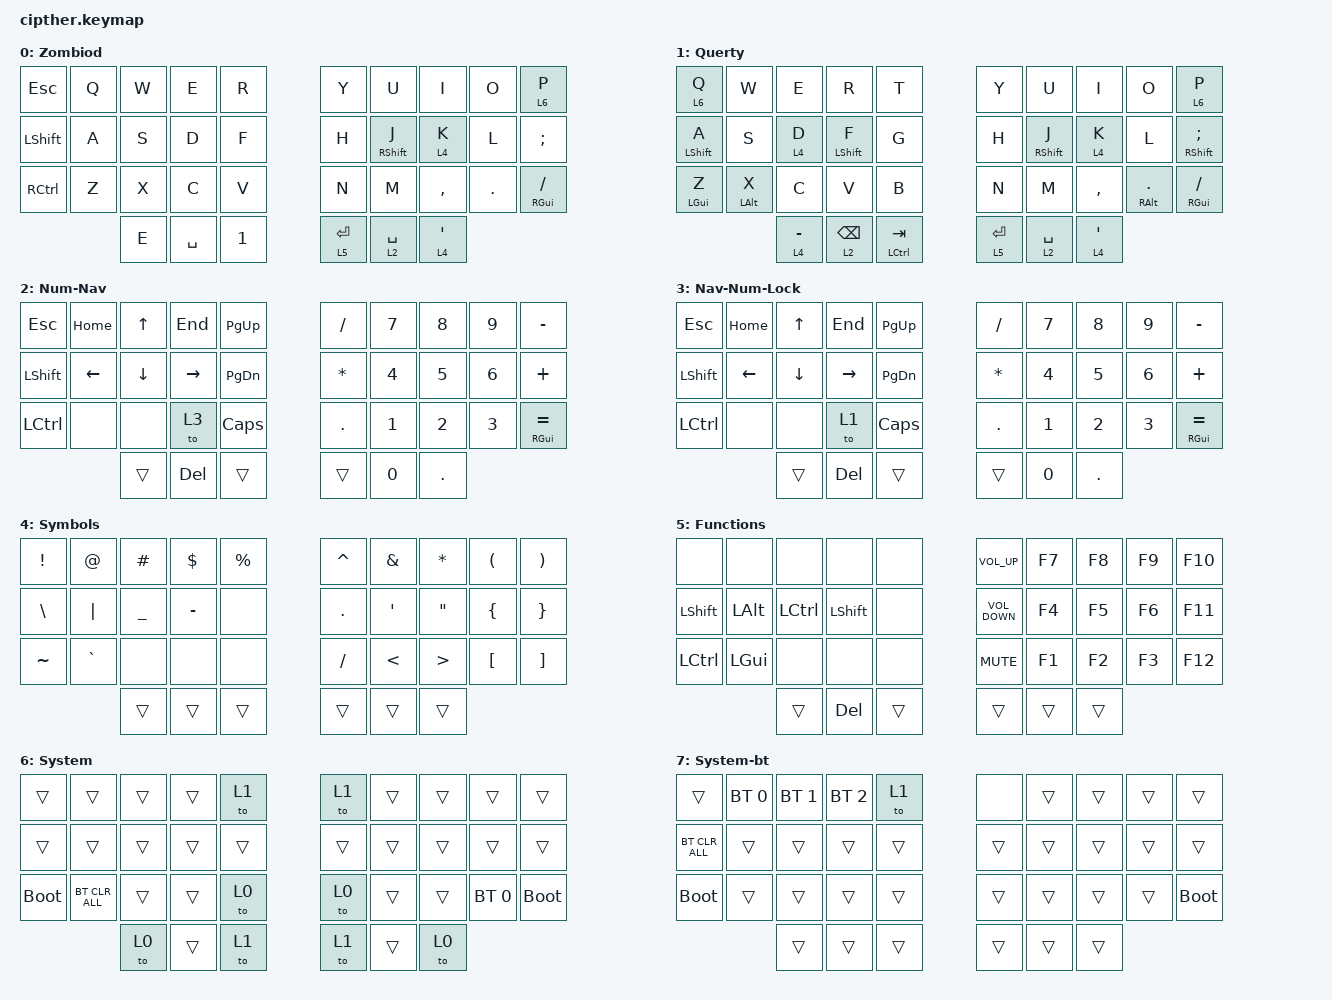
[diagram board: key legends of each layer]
/*
 * Copyright (c) 2020 The ZMK Contributors
 *
 * SPDX-License-Identifier: MIT
 */

#include <behaviors.dtsi>
#include <dt-bindings/zmk/bt.h>
#include <dt-bindings/zmk/keys.h>

/ {
    behaviors {
        hml: hml {
            compatible = "zmk,behavior-hold-tap";
            label = "HOME_ROW_LEFT";
            bindings = <&kp>, <&kp>;

            #binding-cells = <2>;
            hold-trigger-key-positions = <0 1 3 2 4 5 6 14 15 16 17 18 19 20 28 29 42 43 44 45 46 47 56 57 58 48 21 22 23 24 25 26 27 7 8 9 10 11 12 13 33 34 35>;
            tapping-term-ms = <180>;
            quick-tap-ms = <175>;
            require-prior-idle-ms = <150>;
            flavor = "balanced";
            hold-trigger-on-release;
        };

        hmr: hmr {
            compatible = "zmk,behavior-hold-tap";
            label = "HOME_ROW_RIGHT";
            bindings = <&kp>, <&kp>;

            #binding-cells = <2>;
            tapping-term-ms = <180>;
            quick-tap-ms = <175>;
            require-prior-idle-ms = <150>;
            flavor = "balanced";
            hold-trigger-key-positions = <37 7 8 9 10 11 12 13 21 22 23 24 25 26 27 35 36 38 39 40 41 55 54 53 52 51 50 69 68 67 49 0 1 2 3 4 14 20 15 5 6 28 29 34 33 16 17 18 19>;
            hold-trigger-on-release;
        };
    };

    combos {
        compatible = "zmk,combos";

        tab {
            bindings = <&mt LEFT_ALT TAB>;
            key-positions = <12 13>;
            layers = <1>;
        };

        enter_1 {
            bindings = <&kp ENTER>;
            key-positions = <16 17 18>;
            layers = <1>;
        };

        quote {
            bindings = <&mt RIGHT_ALT SINGLE_QUOTE>;
            key-positions = <16 17>;
            layers = <1>;
        };

        double-quote {
            bindings = <&mt RIGHT_GUI DOUBLE_QUOTES>;
            key-positions = <17 18>;
            layers = <1>;
        };

        enter_2 {
            bindings = <&kp ENTER>;
            key-positions = <11 12 13>;
            layers = <1>;
        };

        brace_1 {
            bindings = <&kp LEFT_BRACE>;
            key-positions = <3 2>;
            layers = <1>;
        };

        brace_2 {
            bindings = <&kp RIGHT_BRACE>;
            key-positions = <1 2 3>;
            layers = <1>;
        };

        bracket-1 {
            bindings = <&kp LEFT_BRACKET>;
            key-positions = <22 23>;
            layers = <1>;
        };

        bracket-2 {
            bindings = <&kp RIGHT_BRACKET>;
            key-positions = <21 22 23>;
            layers = <1>;
        };

        paren_1 {
            bindings = <&kp LEFT_PARENTHESIS>;
            key-positions = <6 7>;
            layers = <1>;
        };

        paren_2 {
            bindings = <&kp RIGHT_PARENTHESIS>;
            key-positions = <7 8 6>;
            layers = <1>;
        };

        compare_1 {
            bindings = <&kp LESS_THAN>;
            key-positions = <26 27>;
            layers = <1>;
        };

        compare_2 {
            bindings = <&kp GREATER_THAN>;
            key-positions = <27 28 26>;
            layers = <1>;
        };

        underscore {
            bindings = <&mt LEFT_GUI UNDERSCORE>;
            key-positions = <11 12>;
            layers = <1>;
        };
    };

    macros {
        backdots: backdots {
            compatible = "zmk,behavior-macro";
            #binding-cells = <0>;
            bindings = <&kp DOT &kp DOT &kp FSLH>;
            label = "BACKDOTS";
        };
    };

    keymap {
        compatible = "zmk,keymap";

        Zombiod {
            bindings = <
&kp ESC         &kp Q  &kp W  &kp E      &kp R         &kp Y        &kp U               &kp I               &kp O    &lt 6 P
&kp LEFT_SHIFT  &kp A  &kp S  &kp D      &kp F         &kp H        &hmr RIGHT_SHIFT J  &lt 4 K             &kp L    &kp SEMICOLON
&kp RCTRL       &kp Z  &kp X  &kp C      &kp V         &kp N        &kp M               &kp COMMA           &kp DOT  &hml RIGHT_GUI SLASH
                       &kp E  &kp SPACE  &kp NUMBER_1  &lt 5 ENTER  &lt 2 SPACE         &lt 4 SINGLE_QUOTE
            >;
        };

        Querty {
            // -----------------------------------------------------------------------------------------
            // |  Q  |  W  |  E  |  R  |  T  |   |  Y  |  U   |  I  |  O  |  P  |
            // |  A  |  S  |  D  |  F  |  G  |   |  H  |  J   |  K  |  L  |  ;  |
            // |  Z  |  X  |  C  |  V  |  B  |   |  N  |  M   |  ,  |  .  |  /  |
            //                  | GUI | LWR | SPC |   | ENT | RSE  | ALT |

            bindings = <
&lt 6 Q            &kp W            &kp E        &kp R              &kp T           &kp Y        &kp U               &kp I               &kp O               &lt 6 P
&hml LEFT_SHIFT A  &kp S            &lt 4 D      &hml LEFT_SHIFT F  &kp G           &kp H        &hmr RIGHT_SHIFT J  &lt 4 K             &kp L               &hmr RIGHT_SHIFT SEMICOLON
&hml LEFT_GUI Z    &hml LEFT_ALT X  &kp C        &kp V              &kp B           &kp N        &kp M               &kp COMMA           &hmr RIGHT_ALT DOT  &hmr RIGHT_GUI SLASH
                                    &lt 4 MINUS  &lt 2 BACKSPACE    &hml LCTRL TAB  &lt 5 ENTER  &lt 2 SPACE         &lt 4 SINGLE_QUOTE
            >;
        };

        Num-Nav {
            // -----------------------------------------------------------------------------------------
            // |  1  |  2  |  3  |  4  |  5  |   |  6  |  7  |  8  |  9  |  0  |
            // | BT1 | BT2 | BT3 | BT4 | BT5 |   | LFT | DWN |  UP | RGT |     |
            // |     |     |     |     |     |   |     |     |     |     |     |
            //                  | GUI |     | SPC |   | ENT |     | ALT |

            bindings = <
&kp ESCAPE      &kp HOME        &kp UP_ARROW  &kp END          &kp PAGE_UP    &kp SLASH     &kp N7        &kp N8        &kp N9        &kp MINUS
&kp LEFT_SHIFT  &kp LEFT_ARROW  &kp DOWN      &kp RIGHT_ARROW  &kp PAGE_DOWN  &kp ASTERISK  &kp NUMBER_4  &kp NUMBER_5  &kp NUMBER_6  &kp PLUS
&kp LCTRL       &none           &none         &to 3            &kp CAPS       &kp DOT       &kp NUMBER_1  &kp NUMBER_2  &kp NUMBER_3  &hmr RGUI EQUAL
                                &trans        &kp DELETE       &trans         &trans        &kp NUMBER_0  &kp DOT
            >;
        };

        Nav-Num-Lock {
            bindings = <
&kp ESCAPE      &kp HOME        &kp UP_ARROW  &kp END          &kp PAGE_UP    &kp SLASH     &kp N7        &kp N8        &kp N9        &kp MINUS
&kp LEFT_SHIFT  &kp LEFT_ARROW  &kp DOWN      &kp RIGHT_ARROW  &kp PAGE_DOWN  &kp ASTERISK  &kp NUMBER_4  &kp NUMBER_5  &kp NUMBER_6  &kp PLUS
&kp LCTRL       &none           &none         &to 1            &kp CAPS       &kp DOT       &kp NUMBER_1  &kp NUMBER_2  &kp NUMBER_3  &hmr RIGHT_GUI EQUAL
                                &trans        &kp DELETE       &trans         &trans        &kp NUMBER_0  &kp DOT
            >;
        };

        Symbols {
            bindings = <
&kp EXCLAMATION  &kp AT_SIGN  &kp HASH        &kp DOLLAR  &kp PERCENT  &kp CARET  &kp AMPERSAND     &kp ASTERISK       &kp LEFT_PARENTHESIS  &kp RIGHT_PARENTHESIS
&kp BACKSLASH    &kp PIPE     &kp UNDERSCORE  &kp MINUS   &none        &kp DOT    &kp SINGLE_QUOTE  &kp DOUBLE_QUOTES  &kp LBRC              &kp RIGHT_BRACE
&kp TILDE        &kp GRAVE    &none           &none       &none        &kp SLASH  &kp LESS_THAN     &kp GREATER_THAN   &kp LEFT_BRACKET      &kp RIGHT_BRACKET
                              &trans          &trans      &trans       &trans     &trans            &trans
            >;
        };

        Functions {
            // -----------------------------------------------------------------------------------------
            // |  !  |  @  |  #  |  $  |  %  |   |  ^  |  &  |  *  |  (  |  )  |
            // |     |     |     |     |     |   |  -  |  =  |  [  |  ]  |  \  |
            // |     |     |     |     |     |   |  _  |  +  |  {  |  }  | "|" |
            //                  | GUI |     | SPC |   | ENT |     | ALT |

            bindings = <
&none           &none         &none      &none           &none   &kp K_VOL_UP       &kp F7  &kp F8  &kp F9  &kp F10
&kp LEFT_SHIFT  &kp LEFT_ALT  &kp LCTRL  &kp LEFT_SHIFT  &none   &kp K_VOLUME_DOWN  &kp F4  &kp F5  &kp F6  &kp F11
&kp LCTRL       &kp LEFT_GUI  &none      &none           &none   &kp C_MUTE         &kp F1  &kp F2  &kp F3  &kp F12
                              &trans     &kp DELETE      &trans  &trans             &trans  &trans
            >;
        };

        System {
            bindings = <
&trans       &trans          &trans  &trans  &to 1   &to 1   &trans  &trans  &trans        &trans
&trans       &trans          &trans  &trans  &trans  &trans  &trans  &trans  &trans        &trans
&bootloader  &bt BT_CLR_ALL  &trans  &trans  &to 0   &to 0   &trans  &trans  &bt BT_SEL 0  &bootloader
                             &to 0   &trans  &to 1   &to 1   &trans  &to 0
            >;
        };

        System-bt {
            bindings = <
&trans          &bt BT_SEL 0  &bt BT_SEL 1  &bt BT_SEL 2  &to 1   &none   &trans  &trans  &trans  &trans
&bt BT_CLR_ALL  &trans        &trans        &trans        &trans  &trans  &trans  &trans  &trans  &trans
&bootloader     &trans        &trans        &trans        &trans  &trans  &trans  &trans  &trans  &bootloader
                              &trans        &trans        &trans  &trans  &trans  &trans
            >;
        };
    };
};
